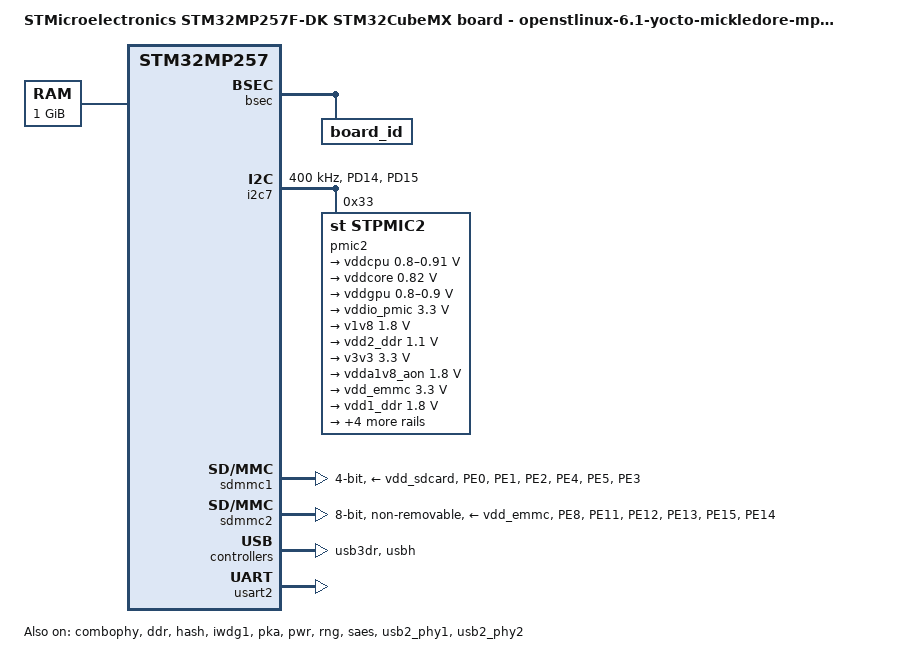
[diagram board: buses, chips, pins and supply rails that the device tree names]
/dts-v1/;
#include <dt-bindings/pinctrl/stm32-pinfunc.h>
#include <dt-bindings/clock/stm32mp25-clksrc.h>
#include "stm32mp25-mx.dtsi"
#include "stm32mp257.dtsi"
#include "stm32mp25xf.dtsi"
#include "stm32mp257f-board_257f-dk-mx-rcc.dtsi"
#include "stm32mp25xxak-pinctrl.dtsi"
#include "stm32mp25-ddr.dtsi"

/* USER CODE BEGIN includes */
#include "stm32mp25-pinctrl.dtsi"
#include "stm32mp25xxal-pinctrl.dtsi"
/* USER CODE END includes */

/{
	model = "STMicroelectronics STM32MP257F-DK STM32CubeMX board - openstlinux-6.1-yocto-mickledore-mpu-v24.06.26";
	compatible = "st,stm32mp257f-board_257f-dk-mx", "st,stm32mp257f-dk", "st,stm32mp257";

	/* USER CODE BEGIN root */

	aliases{
		serial0 = &usart2;
	};

	chosen{
		stdout-path = "serial0:115200n8";
	};

	shadow-prov{
		compatible = "st,provisioning";

		hconf1_prov{
			nvmem-cells = <&hconf1_otp>;
			st,shadow-value = <0x00018000>;
		};
	};
	/* USER CODE END root */

	memory@80000000{
		device_type = "memory";
		reg = <0x0 0x80000000 0x0 0x40000000>;
	};
};

&pinctrl{

	i2c7_pins_mx:i2c7_mx-0{

		pins{
			pinmux = <STM32_PINMUX('D', 14, AF10)>,
					<STM32_PINMUX('D', 15, AF10)>;
			bias-disable;
			drive-open-drain;
			slew-rate = <0>;
		};
	};

	pwr_pins_mx:pwr_mx-0{

		pins{
			pinmux = <STM32_PINMUX('A', 0, ANALOG)>,
					<STM32_PINMUX('G', 1, ANALOG)>,
					<STM32_PINMUX('G', 2, ANALOG)>,
					<STM32_PINMUX('G', 3, ANALOG)>,
					<STM32_PINMUX('H', 5, ANALOG)>,
					<STM32_PINMUX('I', 6, ANALOG)>;
		};
	};

	sdmmc1_pins_mx:sdmmc1_mx-0{

		pins1{
			pinmux = <STM32_PINMUX('E', 0, AF10)>,
					<STM32_PINMUX('E', 1, AF10)>,
					<STM32_PINMUX('E', 2, AF10)>,
					<STM32_PINMUX('E', 4, AF10)>,
					<STM32_PINMUX('E', 5, AF10)>;
			bias-disable;
			drive-push-pull;
			slew-rate = <1>;
		};

		pins2{
			pinmux = <STM32_PINMUX('E', 3, AF10)>;
			bias-disable;
			drive-push-pull;
			slew-rate = <3>;
		};
	};

	sdmmc2_pins_mx:sdmmc2_mx-0{

		pins1{
			pinmux = <STM32_PINMUX('E', 8, AF12)>,
					<STM32_PINMUX('E', 11, AF12)>,
					<STM32_PINMUX('E', 12, AF12)>,
					<STM32_PINMUX('E', 13, AF12)>,
					<STM32_PINMUX('E', 15, AF12)>;
			bias-disable;
			drive-push-pull;
			slew-rate = <1>;
		};

		pins2{
			pinmux = <STM32_PINMUX('E', 14, AF12)>;
			bias-disable;
			drive-push-pull;
			slew-rate = <3>;
		};
	};
};

&pinctrl_z{
};

&bsec{
	status = "okay";

	/* USER CODE BEGIN bsec */

	board_id:board_id@3d8{
		reg = <0x3d8 0x4>;
	};
	/* USER CODE END bsec */
};

&combophy{
	status = "okay";
};

&ddr{
	status = "okay";

	/* USER CODE BEGIN ddr */
	vdd1-supply = <&vdd1_ddr>;
	vdd2-supply = <&vdd2_ddr>;
	vddq-supply = <&vdd2_ddr>;
	/* USER CODE END ddr */
};

&hash{
	status = "okay";
};

&i2c7{
	pinctrl-names = "default";
	pinctrl-0 = <&i2c7_pins_mx>;
	status = "okay";

	/* USER CODE BEGIN i2c7 */
	i2c-scl-rising-time-ns = <185>;
	i2c-scl-falling-time-ns = <20>;
	clock-frequency = <400000>;
	#address-cells = <1>;
	#size-cells = <0>;

	pmic2:stpmic@33{
		compatible = "st,stpmic2";
		reg = <0x33>;
		status = "okay";

		regulators{
			compatible = "st,stpmic2-regulators";

			vddcpu:buck1{
				regulator-name = "vddcpu";
				regulator-min-microvolt = <800000>;
				regulator-max-microvolt = <910000>;
				regulator-always-on;
			};

			vddcore:buck2{
				regulator-name = "vddcore";
				regulator-min-microvolt = <820000>;
				regulator-max-microvolt = <820000>;
				regulator-always-on;
			};

			vddgpu:buck3{
				regulator-name = "vddgpu";
				regulator-min-microvolt = <800000>;
				regulator-max-microvolt = <900000>;
				regulator-always-on;
			};

			vddio_pmic:buck4{
				regulator-name = "vddio_pmic";
				regulator-min-microvolt = <3300000>;
				regulator-max-microvolt = <3300000>;
				regulator-always-on;
			};

			v1v8:buck5{
				regulator-name = "v1v8";
				regulator-min-microvolt = <1800000>;
				regulator-max-microvolt = <1800000>;
				regulator-always-on;
			};

			vdd2_ddr:buck6{
				regulator-name = "vdd2_ddr";
				regulator-min-microvolt = <1100000>;
				regulator-max-microvolt = <1100000>;
			};

			v3v3:buck7{
				regulator-name = "v3v3";
				regulator-min-microvolt = <3300000>;
				regulator-max-microvolt = <3300000>;
				regulator-always-on;
			};

			vdda1v8_aon:ldo1{
				regulator-name = "vdda1v8_aon";
				regulator-min-microvolt = <1800000>;
				regulator-max-microvolt = <1800000>;
				regulator-always-on;
			};

			vdd_emmc:ldo2{
				regulator-name = "vdd_emmc";
				regulator-min-microvolt = <3300000>;
				regulator-max-microvolt = <3300000>;
				regulator-always-on;
			};

			vdd1_ddr:ldo3{
				regulator-name = "vdd1_ddr";
				regulator-min-microvolt = <1800000>;
				regulator-max-microvolt = <1800000>;
				regulator-enable-ramp-delay = <1000>;
			};

			vdd3v3_usb:ldo4{
				regulator-name = "vdd3v3_usb";
				regulator-min-microvolt = <3300000>;
				regulator-max-microvolt = <3300000>;
				regulator-always-on;
			};

			v5v_hdmi:ldo5{
				regulator-name = "v5v_hdmi";
				regulator-min-microvolt = <2000000>;
				regulator-max-microvolt = <2000000>;
			};

			vdd_sdcard:ldo7{
				regulator-name = "vdd_sdcard";
				regulator-min-microvolt = <3300000>;
				regulator-max-microvolt = <3300000>;
				regulator-always-on;
			};

			vddio_sdcard:ldo8{
				regulator-name = "vddio_sdcard";
				st,regulator-bypass-microvolt = <3300000>;
				regulator-min-microvolt = <1800000>;
				regulator-max-microvolt = <3300000>;
				regulator-always-on;
			};
		};
	};
	/* USER CODE END i2c7 */
};

&iwdg1{
	status = "okay";

	/* USER CODE BEGIN iwdg1 */
	timeout-sec = <32>;
	/* USER CODE END iwdg1 */
};

&pka{
	status = "okay";
};

&pwr{
	pinctrl-names = "default";
	pinctrl-0 = <&pwr_pins_mx>;
	status = "okay";

	/* USER CODE BEGIN pwr */

	vddio1:vddio1{
		vddio1-supply = <&vddio_sdcard>;
	};

	vddio2:vddio2{
		vddio2-supply = <&v1v8>;
	};

	vddio3:vddio3{
		vddio3-supply = <&vddio_pmic>;
	};

	vddio4:vddio4{
		vddio4-supply = <&vddio_pmic>;
	};

	vddio:vddio{
		vdd-supply = <&vddio_pmic>;
	};
	/* USER CODE END pwr */
};

&rng{
	status = "okay";
};

&saes{
	status = "okay";
};

&sdmmc1{
	pinctrl-names = "default";
	pinctrl-0 = <&sdmmc1_pins_mx>;
	status = "okay";

	/* USER CODE BEGIN sdmmc1 */
	st,neg-edge;
	bus-width = <4>;
	vmmc-supply = <&vdd_sdcard>;
	vqmmc-supply = <&vddio1>;
	/* USER CODE END sdmmc1 */
};

&sdmmc2{
	pinctrl-names = "default";
	pinctrl-0 = <&sdmmc2_pins_mx>;
	status = "okay";

	/* USER CODE BEGIN sdmmc2 */
	non-removable;
	no-sd;
	no-sdio;
	st,neg-edge;
	bus-width = <8>;
	vmmc-supply = <&vdd_emmc>;
	vqmmc-supply = <&vddio2>;
	/* USER CODE END sdmmc2 */
};

&usb2_phy1{
	status = "okay";
};

&usb2_phy2{
	status = "okay";
};

&usb3dr{
	status = "okay";
};

&usbh{
	status = "okay";
};

&usart2{
	pinctrl-names = "default";
	pinctrl-0 = <&usart2_pins_mx>;
	status = "okay";

	/* USER CODE BEGIN usart2 */
	/* USER CODE END usart2 */
};
/* USER CODE BEGIN addons */
/* USER CODE END addons */
